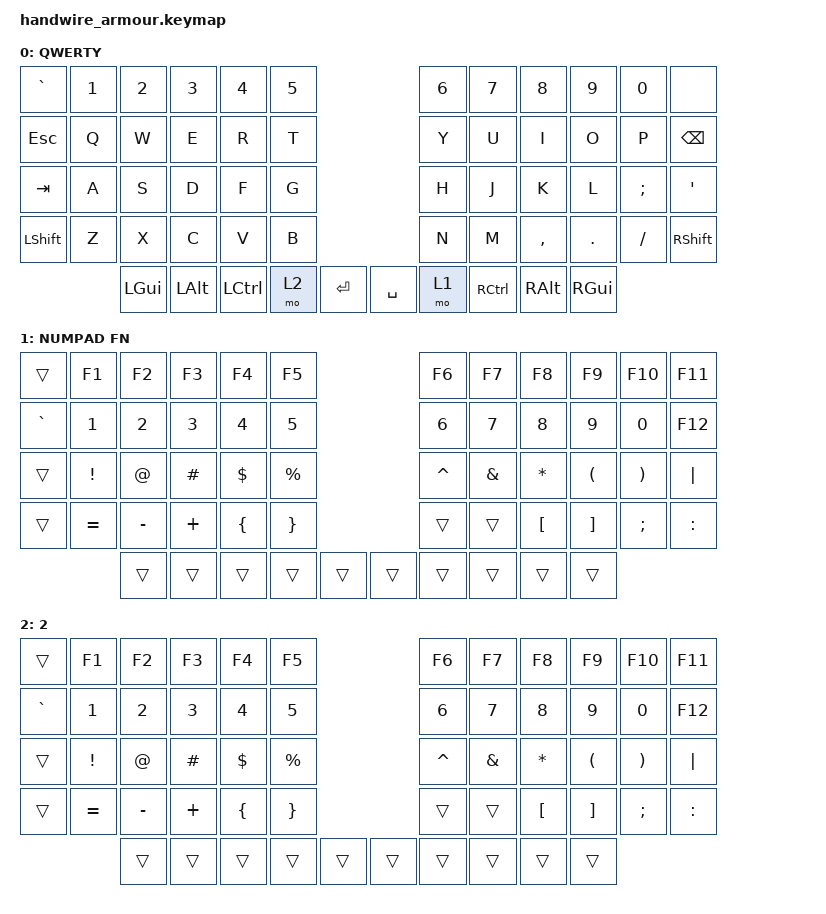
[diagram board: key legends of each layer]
#include <behaviors.dtsi>
#include <dt-bindings/zmk/keys.h>

/ {
    keymap {
        compatible = "zmk,keymap";

        default_layer { // Layer 0
            display-name = "QWERTY";
            bindings = <
&kp GRAVE &kp N1 &kp N2   &kp N3   &kp N4    &kp N5                     &kp N6    &kp N7 &kp N8    &kp N9   &kp N0    &none
&kp ESC   &kp Q  &kp W    &kp E    &kp R     &kp T                      &kp Y     &kp U  &kp I     &kp O    &kp P     &kp BSPC
&kp TAB   &kp A  &kp S    &kp D    &kp F     &kp G                      &kp H     &kp J  &kp K     &kp L    &kp SEMI  &kp SQT
&kp LSHFT &kp Z  &kp X    &kp C    &kp V     &kp B                      &kp N     &kp M  &kp COMMA &kp DOT  &kp FSLH  &kp RSHFT
                 &kp LGUI &kp LALT &kp LCTRL &mo 2  &kp RET   &kp SPACE &mo 1  &kp RCTRL &kp RALT  &kp RGUI
            >;
        };
        layer_1 {
            display-name = "NUMPAD FN";
            bindings = <
&trans    &kp F1    &kp F2    &kp F3   &kp F4    &kp F5                  &kp F6    &kp F7   &kp F8    &kp F9   &kp F10   &kp F11
&kp GRAVE &kp N1    &kp N2    &kp N3   &kp N4    &kp N5                  &kp N6    &kp N7   &kp N8    &kp N9   &kp N0    &kp F12
&trans    &kp EXCL  &kp AT    &kp HASH &kp DLLR  &kp PRCNT               &kp CARET &kp AMPS &kp ASTRK &kp LPAR &kp RPAR  &kp PIPE
&trans    &kp EQUAL &kp MINUS &kp PLUS &kp LBRC  &kp RBRC                &trans    &trans   &kp LBKT  &kp RBKT &kp SEMI  &kp COLON
                    &trans    &trans   &trans    &trans    &trans &trans &trans    &trans   &trans    &trans
            >;
        };
        layer_2 {
            display-name = "2";
            bindings = <
&trans    &kp F1    &kp F2    &kp F3   &kp F4    &kp F5                  &kp F6    &kp F7   &kp F8    &kp F9   &kp F10   &kp F11
&kp GRAVE &kp N1    &kp N2    &kp N3   &kp N4    &kp N5                  &kp N6    &kp N7   &kp N8    &kp N9   &kp N0    &kp F12
&trans    &kp EXCL  &kp AT    &kp HASH &kp DLLR  &kp PRCNT               &kp CARET &kp AMPS &kp ASTRK &kp LPAR &kp RPAR  &kp PIPE
&trans    &kp EQUAL &kp MINUS &kp PLUS &kp LBRC  &kp RBRC                &trans    &trans   &kp LBKT  &kp RBKT &kp SEMI  &kp COLON
                    &trans    &trans   &trans    &trans    &trans &trans &trans    &trans   &trans    &trans
            >;
        };
    };

};

